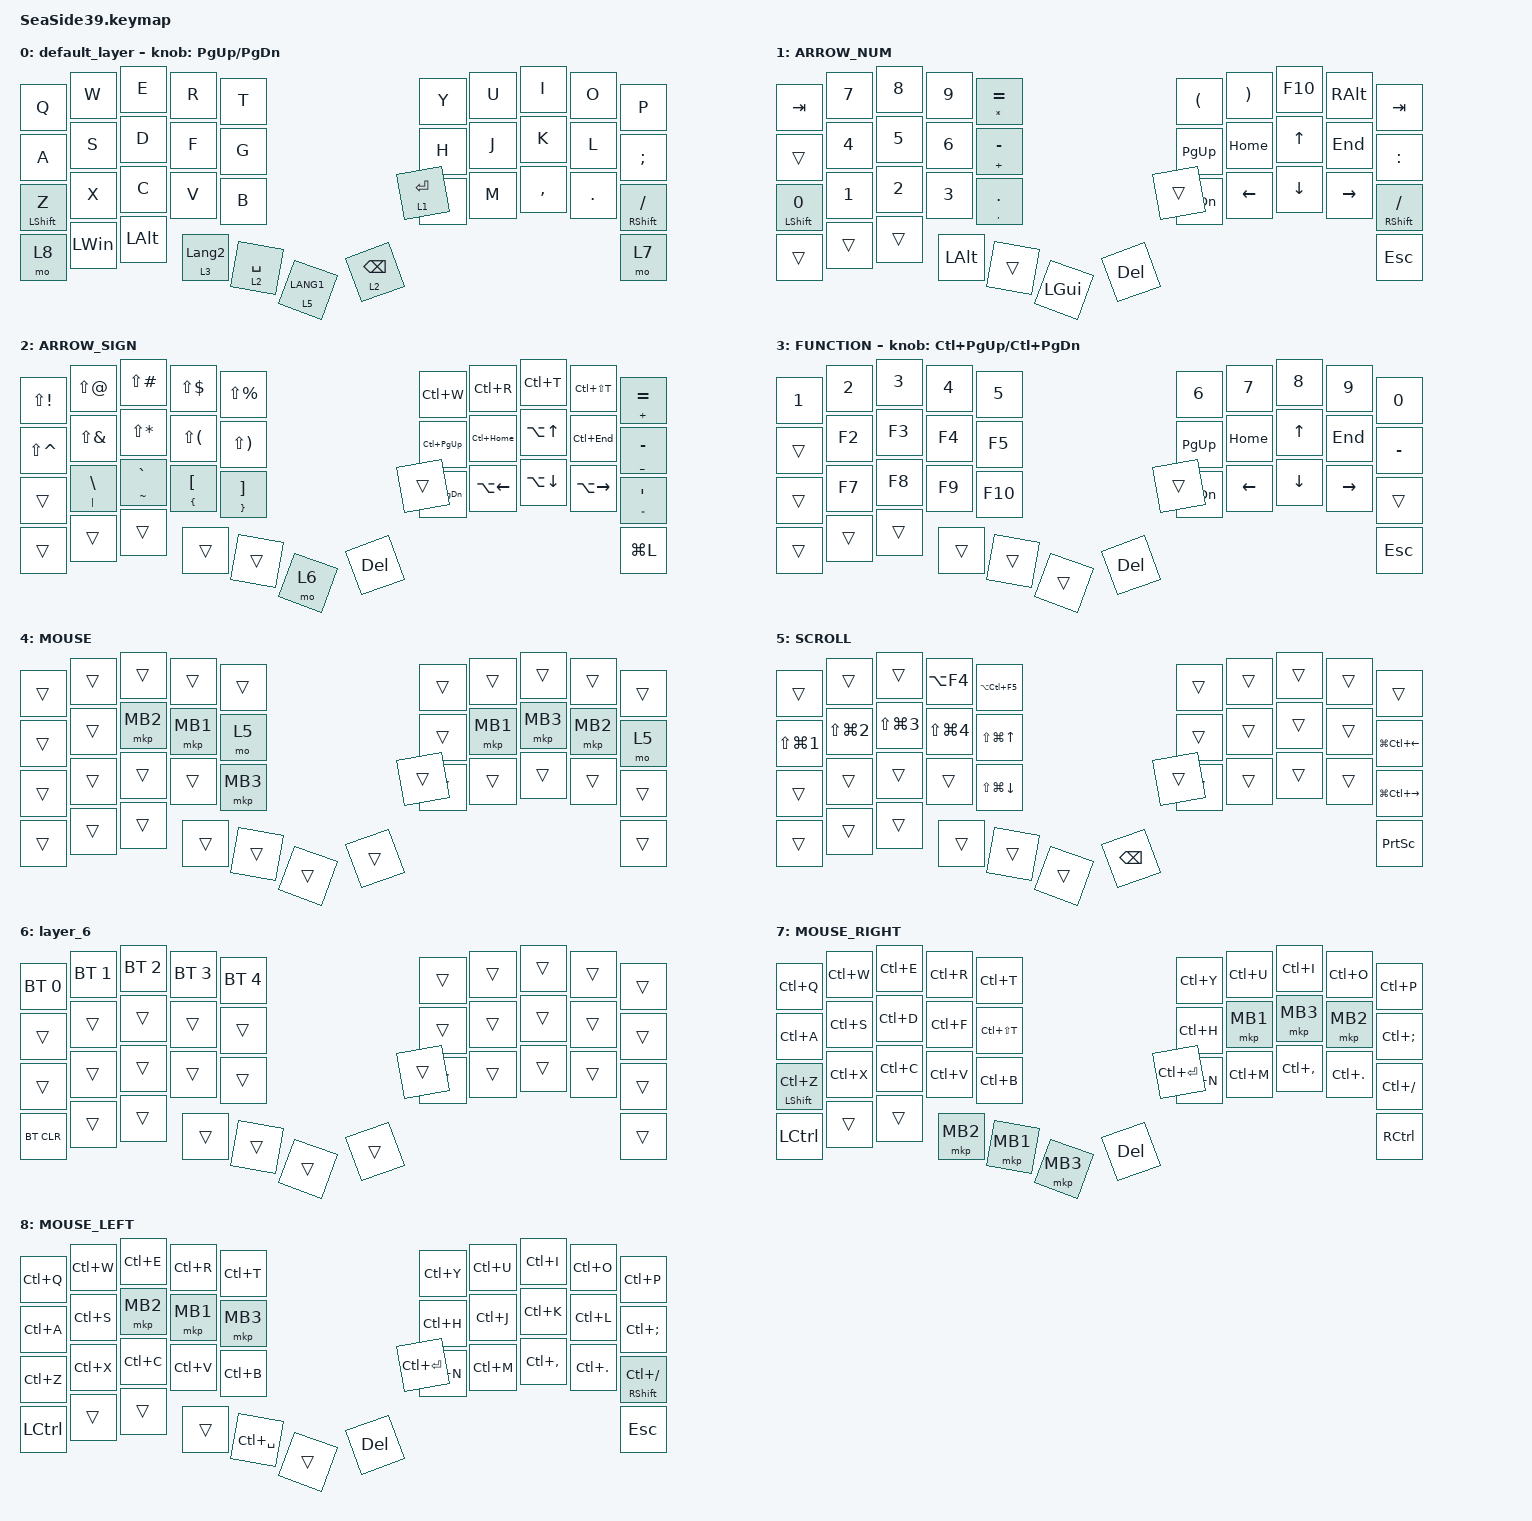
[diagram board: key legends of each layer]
#include <behaviors.dtsi>
#include <dt-bindings/zmk/bt.h>
#include <dt-bindings/zmk/keys.h>
#include <dt-bindings/zmk/pointing.h>

#define MOUSE 4
#define SCROLL 5
#define NUM 6

&mt {
    flavor = "hold-preferred";
    quick-tap-ms = <300>;
    tapping-term-ms = <200>;
};

&lt {
    flavor = "hold-preferred";
    quick-tap-ms = <300>;
    tapping-term-ms = <200>;
};

/ {
    combos {
        compatible = "zmk,combos";

        right_ctrl {
            bindings = <&kp RCTRL>;
            key-positions = <28 29>;
        };

        left_ctrl {
            bindings = <&kp LCTRL>;
            key-positions = <30 31>;
        };

        tab {
            bindings = <&kp TAB>;
            key-positions = <0 1>;
        };

        ctrl_shift {
            bindings = <&kp LS(LCTRL)>;
            key-positions = <20 21>;
        };

        scroll_rihgt {
            bindings = <&mo 5>;
            key-positions = <18 19>;
        };

        scroll_left {
            bindings = <&mo 5>;
            key-positions = <13 14>;
        };

        MB3_RIGHT {
            bindings = <&mkp MB3>;
            key-positions = <17 18>;
        };
    };

    macros {
        to_layer_0: to_layer_0 {
            compatible = "zmk,behavior-macro-one-param";
            #binding-cells = <1>;
            bindings = <&to 0 &macro_param_1to1 &kp MACRO_PLACEHOLDER>;
            label = "TO_LAYER_0";
        };
    };

    behaviors {
        lt_to_layer_0: lt_to_layer_0 {
            compatible = "zmk,behavior-hold-tap";
            label = "LAYER_TAP_TO_0";
            bindings = <&mo>, <&to_layer_0>;

            #binding-cells = <2>;
            flavor = "hold-preferred";
            quick-tap-ms = <300>;
            tapping-term-ms = <200>;
        };

        // 「balanced」な mod-tap

        mt_balanced: mod_tap_balanced {
            compatible = "zmk,behavior-hold-tap";
            label = "MOD_TAP_BALANCED";
            #binding-cells = <2>;
            tapping-term-ms = <125>;
            flavor = "balanced";
            bindings = <&kp>, <&kp>;
        };

        td_z_shft: tap_dance {
            compatible = "zmk,behavior-tap-dance";
            #binding-cells = <0>;
            tapping-term-ms = <200>;
            bindings = <&kp Z>, <&kp LSHFT>;
        };

        lt_balanced: lt_balanced {
            compatible = "zmk,behavior-hold-tap";
            label = "LT_BALANCED";
            bindings = <&mo>, <&kp>;

            #binding-cells = <2>;
            tapping-term-ms = <200>;
            flavor = "tap-preferred";
            quick-tap-ms = <200>;
        };
    };

    keymap {
        compatible = "zmk,keymap";

        default_layer {
            bindings = <
&kp Q                      &kp W         &kp E         &kp R             &kp T                                                   &kp Y        &kp U  &kp I      &kp O    &kp P
&kp A                      &kp S         &kp D         &kp F             &kp G                                                   &kp H        &kp J  &kp K      &kp L    &kp SEMICOLON
&mt_balanced LEFT_SHIFT Z  &kp X         &kp C         &kp V             &kp B                                                   &kp N        &kp M  &kp COMMA  &kp DOT  &mt_balanced RIGHT_SHIFT SLASH
&mo 8                      &kp LEFT_WIN  &kp LEFT_ALT  &lt 3 LANGUAGE_2  &lt_balanced 2 SPACE  &lt 5 LANG1      &lt 2 BACKSPACE  &lt 1 ENTER                             &mo 7
            >;

            sensor-bindings = <&inc_dec_kp PG_UP PAGE_DOWN>;
        };

        ARROW_NUM {
            bindings = <
&kp TAB                     &kp N7  &kp N8        &kp N9        &mt ASTERISK EQUAL                                &kp LEFT_PARENTHESIS  &kp RIGHT_PARENTHESIS  &kp F10       &kp RIGHT_ALT  &kp TAB
&trans                      &kp N4  &kp N5        &kp N6        &mt PLUS MINUS                                    &kp PAGE_UP           &kp HOME               &kp UP_ARROW  &kp END        &kp COLON
&mt_balanced LEFT_SHIFT N0  &kp N1  &kp NUMBER_2  &kp NUMBER_3  &mt COMMA DOT                                     &kp PAGE_DOWN         &kp LEFT_ARROW         &kp DOWN      &kp RIGHT      &mt RIGHT_SHIFT SLASH
&trans                      &trans  &trans        &kp LEFT_ALT  &trans              &kp LEFT_GUI      &kp DELETE  &trans                                                                    &kp ESCAPE
            >;
        };

        ARROW_SIGN {
            bindings = <
&kp LS(EXCL)   &kp LS(AT)          &kp LS(POUND)    &kp LS(DLLR)                 &kp LS(PRCNT)                                         &kp LC(W)          &kp LC(R)     &kp LC(T)         &kp LC(LS(T))  &mt PLUS EQUAL
&kp LS(CARET)  &kp LS(AMPS)        &kp LS(STAR)     &kp LS(LPAR)                 &kp LS(RPAR)                                          &kp LC(PAGE_UP)    &kp LC(HOME)  &kp LA(UP_ARROW)  &kp LC(END)    &mt UNDER MINUS
&trans         &mt PIPE BACKSLASH  &mt TILDE GRAVE  &mt LEFT_BRACE LEFT_BRACKET  &mt RIGHT_BRACE RIGHT_BRACKET                         &kp LC(PAGE_DOWN)  &kp LA(LEFT)  &kp LA(DOWN)      &kp LA(RIGHT)  &mt DOUBLE_QUOTES SINGLE_QUOTE
&trans         &trans              &trans           &trans                       &trans                         &mo 6      &kp DELETE  &trans                                                            &kp LG(L)
            >;
        };

        FUNCTION {
            bindings = <
&kp NUMBER_1  &kp NUMBER_2  &kp NUMBER_3  &kp NUMBER_4  &kp N5                           &kp NUMBER_6   &kp N7    &kp N8        &kp N9     &kp N0
&trans        &kp F2        &kp F3        &kp F4        &kp F5                           &kp PAGE_UP    &kp HOME  &kp UP_ARROW  &kp END    &kp MINUS
&trans        &kp F7        &kp F8        &kp F9        &kp F10                          &kp PAGE_DOWN  &kp LEFT  &kp DOWN      &kp RIGHT  &trans
&trans        &trans        &trans        &trans        &trans   &trans      &kp DELETE  &trans                                            &kp ESCAPE
            >;

            sensor-bindings = <&inc_dec_kp LC(PAGE_UP) LC(PAGE_DOWN)>;
        };

        MOUSE {
            bindings = <
&trans  &trans  &trans    &trans    &trans                        &trans  &trans    &trans    &trans    &trans
&trans  &trans  &mkp MB2  &mkp MB1  &mo 5                         &trans  &mkp MB1  &mkp MB3  &mkp MB2  &mo 5
&trans  &trans  &trans    &trans    &mkp MB3                      &trans  &trans    &trans    &trans    &trans
&trans  &trans  &trans    &trans    &trans    &trans      &trans  &trans                                &trans
            >;
        };

        SCROLL {
            bindings = <
&trans                &trans                &trans                &kp LA(F4)            &kp LA(LC(F5))                                     &trans  &trans  &trans  &trans  &trans
&kp LS(LG(NUMBER_1))  &kp LS(LG(NUMBER_2))  &kp LS(LG(NUMBER_3))  &kp LS(LG(NUMBER_4))  &kp LS(LG(UP_ARROW))                               &trans  &trans  &trans  &trans  &kp LG(LC(LEFT_ARROW))
&trans                &trans                &trans                &trans                &kp LS(LG(DOWN_ARROW))                             &trans  &trans  &trans  &trans  &kp LG(LC(RIGHT))
&trans                &trans                &trans                &trans                &trans                  &trans      &kp BACKSPACE  &trans                          &kp PRINTSCREEN
            >;
        };

        layer_6 {
            bindings = <
&bt BT_SEL 0  &bt BT_SEL 1  &bt BT_SEL 2  &bt BT_SEL 3  &bt BT_SEL 4                      &trans  &trans  &trans  &trans  &trans
&trans        &trans        &trans        &trans        &trans                            &trans  &trans  &trans  &trans  &trans
&trans        &trans        &trans        &trans        &trans                            &trans  &trans  &trans  &trans  &trans
&bt BT_CLR    &trans        &trans        &trans        &trans        &trans      &trans  &trans                          &trans
            >;
        };

        MOUSE_RIGHT {
            bindings = <
&kp LC(Q)             &kp LC(W)  &kp LC(E)  &kp LC(R)  &kp LC(T)                                &kp LC(Y)      &kp LC(U)  &kp LC(I)      &kp LC(O)    &kp LC(P)
&kp LC(A)             &kp LC(S)  &kp LC(D)  &kp LC(F)  &kp LC(LS(T))                            &kp LC(H)      &mkp MB1   &mkp MB3       &mkp MB2     &kp LC(SEMICOLON)
&mt LEFT_SHIFT LC(Z)  &kp LC(X)  &kp LC(C)  &kp LC(V)  &kp LC(B)                                &kp LC(N)      &kp LC(M)  &kp LC(COMMA)  &kp LC(DOT)  &kp LC(FSLH)
&kp LCTRL             &trans     &trans     &mkp MB2   &mkp MB1       &mkp MB3      &kp DELETE  &kp LC(ENTER)                                         &kp RCTRL
            >;
        };

        MOUSE_LEFT {
            bindings = <
&kp LC(Q)  &kp LC(W)  &kp LC(E)  &kp LC(R)  &kp LC(T)                              &kp LC(Y)      &kp LC(U)  &kp LC(I)      &kp LC(O)    &kp LC(P)
&kp LC(A)  &kp LC(S)  &mkp MB2   &mkp MB1   &mkp MB3                               &kp LC(H)      &kp LC(J)  &kp LC(K)      &kp LC(L)    &kp LC(SEMI)
&kp LC(Z)  &kp LC(X)  &kp LC(C)  &kp LC(V)  &kp LC(B)                              &kp LC(N)      &kp LC(M)  &kp LC(COMMA)  &kp LC(DOT)  &mt RIGHT_SHIFT LC(SLASH)
&kp LCTRL  &trans     &trans     &trans     &kp LC(SPACE)  &trans      &kp DELETE  &kp LC(ENTER)                                         &kp ESC
            >;
        };
    };
};
